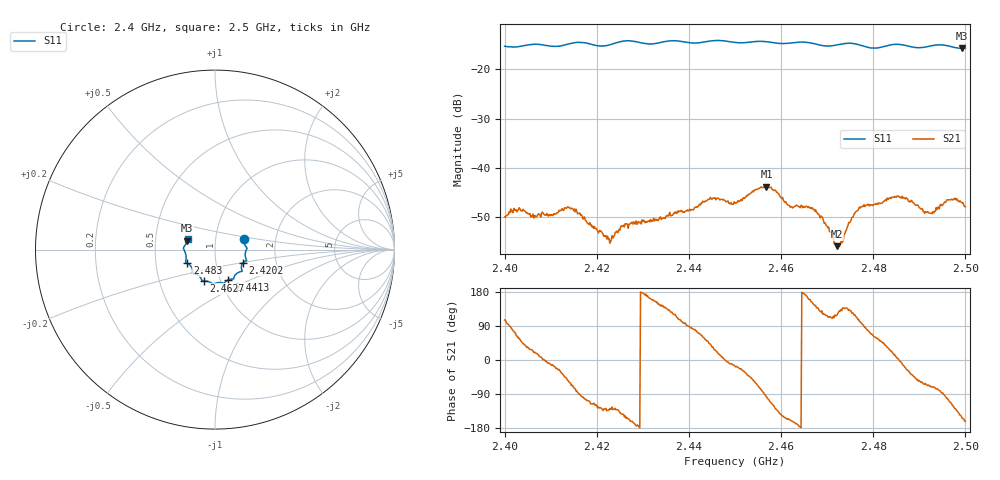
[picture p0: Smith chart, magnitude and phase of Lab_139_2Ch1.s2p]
# Hz S RI R 50
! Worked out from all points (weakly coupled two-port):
!   601 points, 2.4 GHz to 2.5 GHz, reference 50 ohm
!   highest |S21| = -43.82 dB at 2.4568 GHz (marker M1); lowest = -55.8 dB at 2.4722 GHz (marker M2)
!   lowest |S11| = -15.8 dB at 2.4993 GHz (marker M3), VSWR 1.39, Z = 36.5 + j3.73 ohm
!   |S11| at or under -10 dB: start of sweep to end of sweep
!   S12 and S22 are empty: the file has one direction only
!   S11 on the Smith chart (normalised r, x): 2.4 GHz: 1.37, +0.16; 2.4202 GHz: 1.35, -0.20; 2.4413 GHz: 1.09, -0.38; 2.4627 GHz: 0.83, -0.30; 2.483 GHz: 0.72, -0.11; 2.5 GHz: 0.73, +0.09
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2.4e9  0.1609 0.0566  -0.000859 0.00307  0 0  0 0
2.4135e9  0.1712 -0.0473  0.00254 -0.00303  0 0  0 0
2.416667e9  0.1758 -0.0617  -0.000316 -0.00334  0 0  0 0
2.420167e9  0.1563 -0.073  -0.00137 -0.00189  0 0  0 0
2.423e9  0.1468 -0.0991  -0.00114 -0.00138  0 0  0 0
2.425833e9  0.1515 -0.1184  -0.00212 -0.00157  0 0  0 0
2.433333e9  0.1082 -0.1485  -0.00246 0.00161  0 0  0 0
2.441333e9  0.0742 -0.1681  0.000671 0.00395  0 0  0 0
2.445167e9  0.0518 -0.1867  0.00405 0.00283  0 0  0 0
2.45e9  0.0293 -0.184  0.00427 -0.00124  0 0  0 0
2.456833e9  -0.0162 -0.1888  -0.000743 -0.0064  0 0  0 0
2.462667e9  -0.0618 -0.1747  -0.00385 -0.00113  0 0  0 0
2.466667e9  -0.0743 -0.1674  -0.00344 0.00175  0 0  0 0
2.472167e9  -0.1124 -0.1351  -0.000798 0.00141  0 0  0 0
2.476667e9  -0.1246 -0.1265  -0.00108 0.00355  0 0  0 0
2.483e9  -0.1548 -0.0767  0.00415 0.00274  0 0  0 0
2.483333e9  -0.1569 -0.0756  0.00419 0.00243  0 0  0 0
2.486833e9  -0.1627 -0.0622  0.00471 -0.00159  0 0  0 0
2.492333e9  -0.1714 -0.00433  0.00117 -0.00327  0 0  0 0
2.4965e9  -0.1696 0.0198  -0.00156 -0.0045  0 0  0 0
2.499333e9  -0.1546 0.0498  -0.00398 -0.00193  0 0  0 0
2.5e9  -0.1529 0.0587  -0.00386 -0.00125  0 0  0 0
